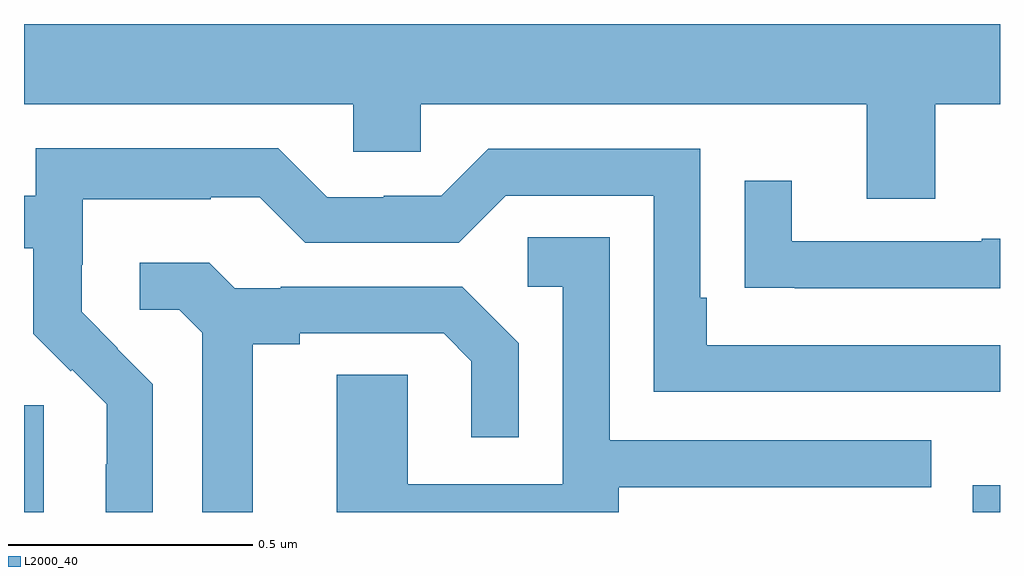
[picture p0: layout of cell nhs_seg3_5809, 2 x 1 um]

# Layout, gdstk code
import gdstk
lib = gdstk.Library(unit=1e-6, precision=1e-09)
def R(c, l, rs):  # rectangles x0, y0, x1, y1
    for r in rs: c.add(gdstk.rectangle(r[:2], r[2:], *l))
def P(c, l, *ps):  # polygons
    for p in ps: c.add(gdstk.Polygon(p, *l))
L2000_40 = (2000, 40)

nhs_seg3_5809 = lib.new_cell('nhs_seg3_5809')
R(nhs_seg3_5809, L2000_40, [(183,713.4,183.04,713.619), (184.944,713.4,185,713.455)])
P(nhs_seg3_5809, L2000_40, [(184.867,714.236),(185,714.236),(185,714.4),(183,714.4),(183,714.236),(183.675,714.236),(183.675,714.138),(183.813,714.138),(183.813,714.236),(184.727,714.236),(184.727,714.042),(184.867,714.042)],
  [(183.264,713.662),(183.191,713.735),(183.192,713.736),(183.118,713.81),(183.118,713.907),(183.12,713.907),(183.12,714.041),(183.383,714.041),(183.383,714.045),(183.483,714.045),(183.576,713.952),(183.891,713.952),(183.987,714.048),(184.29,714.048),(184.29,713.646),(185,713.646),(185,713.742),(184.399,713.742),(184.399,713.839),(184.386,713.839),(184.386,714.144),(183.951,714.144),(183.855,714.048),(183.737,714.048),(183.737,714.045),(183.621,714.045),(183.521,714.145),(183.024,714.145),(183.024,714.048),(183,714.048),(183,713.94),(183.019,713.94),(183.019,713.765),(183.096,713.688),(183.099,713.691),(183.17,713.621),(183.17,713.498),(183.168,713.498),(183.168,713.4),(183.264,713.4)],
  [(185,713.96),(184.963,713.96),(184.963,713.955),(184.573,713.955),(184.573,714.079),(184.477,714.079),(184.477,713.86),(184.579,713.86),(184.579,713.859),(185,713.859)],
  [(184.219,713.451),(184.859,713.451),(184.859,713.547),(184.2,713.547),(184.2,713.963),(184.032,713.963),(184.032,713.862),(184.104,713.862),(184.104,713.457),(183.786,713.457),(183.786,713.681),(183.641,713.681),(183.641,713.4),(184.219,713.4)],
  [(183.469,713.744),(183.565,713.744),(183.565,713.766),(183.86,713.766),(183.917,713.709),(183.917,713.553),(184.014,713.553),(184.014,713.746),(183.898,713.862),(183.526,713.862),(183.526,713.859),(183.432,713.859),(183.38,713.911),(183.237,713.911),(183.237,713.814),(183.318,713.814),(183.365,713.767),(183.365,713.4),(183.469,713.4)])

lib.write_gds('nhs_seg3_5809.gds')
